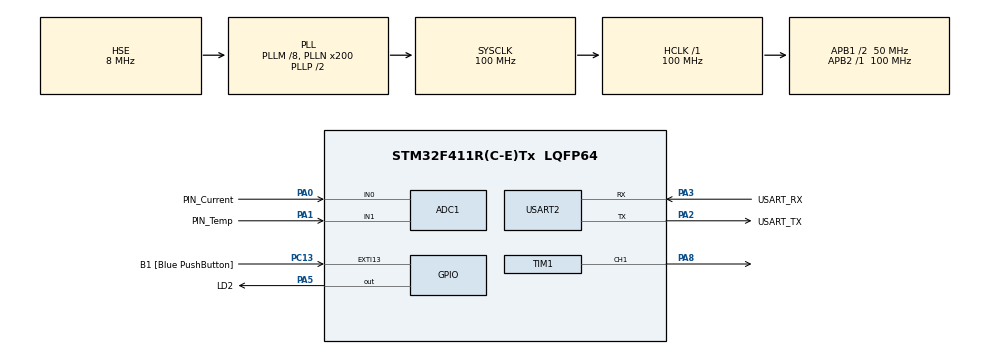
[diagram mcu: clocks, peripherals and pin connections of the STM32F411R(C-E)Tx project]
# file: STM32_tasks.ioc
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ADC1.Channel-10\#ChannelRegularConversion=ADC_CHANNEL_0
ADC1.NbrOfConversionFlag=1
ADC1.Rank-10\#ChannelRegularConversion=1
ADC1.SamplingTime-10\#ChannelRegularConversion=ADC_SAMPLETIME_3CYCLES
ADC1.master=1
Mcu.Family=STM32F4
Mcu.Name=STM32F411R(C-E)Tx
Mcu.Package=LQFP64
NVIC.PriorityGroup=NVIC_PRIORITYGROUP_0
NVIC.TIM2_IRQn=true\:0\:0\:false\:false\:true\:true\:true\:true
NVIC.USART2_IRQn=true\:0\:0\:false\:false\:true\:true\:true\:true
PA0-WKUP.GPIO_Label=PIN_Current
PA0-WKUP.Signal=ADCx_IN0
PA1.GPIO_Label=PIN_Temp
PA1.Signal=ADCx_IN1
PA13.GPIO_Label=TMS
PA13.Mode=Serial_Wire
PA13.Signal=SYS_JTMS-SWDIO
PA14.GPIO_Label=TCK
PA14.Mode=Serial_Wire
PA14.Signal=SYS_JTCK-SWCLK
PA2.GPIO_Label=USART_TX
PA2.Mode=Asynchronous
PA2.Signal=USART2_TX
PA3.GPIO_Label=USART_RX
PA3.Mode=Asynchronous
PA3.Signal=USART2_RX
PA5.GPIO_Label=LD2
PA5.Signal=GPIO_Output
PA8.Signal=S_TIM1_CH1
PB3.GPIO_Label=SWO
PB3.Signal=SYS_JTDO-SWO
PC13-ANTI_TAMP.GPIO_Label=B1 [Blue PushButton]
PC13-ANTI_TAMP.GPIO_ModeDefaultEXTI=GPIO_MODE_IT_FALLING
PC13-ANTI_TAMP.Signal=GPXTI13
PC14-OSC32_IN.Mode=LSE-External-Oscillator
PC14-OSC32_IN.Signal=RCC_OSC32_IN
PC15-OSC32_OUT.Mode=LSE-External-Oscillator
PC15-OSC32_OUT.Signal=RCC_OSC32_OUT
PH0\ -\ OSC_IN.Mode=HSE-External-Clock-Source
PH0\ -\ OSC_IN.Signal=RCC_OSC_IN
PH1\ -\ OSC_OUT.Mode=HSE-External-Clock-Source
PH1\ -\ OSC_OUT.Signal=RCC_OSC_OUT
ProjectManager.HeapSize=0x200
ProjectManager.StackSize=0x400
ProjectManager.TargetToolchain=STM32CubeIDE
RCC.48MHZClocksFreq_Value=50000000
RCC.AHBFreq_Value=100000000
RCC.APB1CLKDivider=RCC_HCLK_DIV2
RCC.APB1Freq_Value=50000000
RCC.APB1TimFreq_Value=100000000
RCC.APB2Freq_Value=100000000
RCC.APB2TimFreq_Value=100000000
RCC.CortexFreq_Value=100000000
RCC.FLatency-AdvancedSettings=FLASH_LATENCY_3
RCC.HCLKFreq_Value=100000000
RCC.HSE_VALUE=8000000
RCC.HSI_VALUE=16000000
RCC.PLLM=8
RCC.PLLN=200
RCC.PLLSourceVirtual=RCC_PLLSOURCE_HSE
RCC.SYSCLKFreq_VALUE=100000000
RCC.SYSCLKSource=RCC_SYSCLKSOURCE_PLLCLK
RCC.VCOOutputFreq_Value=200000000
SH.ADCx_IN0.0=ADC1_IN0,IN0
SH.ADCx_IN1.0=ADC1_IN1,IN1
SH.S_TIM1_CH1.0=TIM1_CH1,PWM Generation1 CH1
TIM1.AutoReloadPreload=TIM_AUTORELOAD_PRELOAD_ENABLE
TIM1.Channel-PWM\ Generation1\ CH1=TIM_CHANNEL_1
TIM1.Period=4999
TIM2.Channel-Output\ Compare1\ No\ Output=TIM_CHANNEL_1
TIM2.OCMode_1=TIM_OCMODE_TOGGLE
TIM2.Period=10000
TIM2.Prescaler=49999
TIM2.Pulse-Output\ Compare1\ No\ Output=10000
USART2.VirtualMode=VM_ASYNC
VP_TIM2_VS_ClockSourceINT.Mode=Internal
VP_TIM2_VS_no_output1.Mode=Output Compare1 No Output
board=NUCLEO-F411RE

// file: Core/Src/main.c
/* USER CODE BEGIN Header */
/**
  ******************************************************************************
  * @file           : main.c
  * @brief          : Main program body
  ******************************************************************************
  * @attention
  *
  * Copyright (c) 2025 STMicroelectronics.
  * All rights reserved.
  *
  * This software is licensed under terms that can be found in the LICENSE file
  * in the root directory of this software component.
  * If no LICENSE file comes with this software, it is provided AS-IS.
  *65535
  ******************************************************************************
  */

//Some change
/* USER CODE END Header */
#include "main.h"

/* USER CODE BEGIN Includes */
#include <ctype.h>
#include <stdarg.h>
#include <stdlib.h>  // strtoul
#include <stdio.h>
#include <math.h>

/* USER CODE END Includes */

/* USER CODE BEGIN PD */
#define CMD_BUF_LEN 64

#define ADC_VREF_V              3.3f
#define ADC_MAX_COUNTS          4095.0f

#define ISENSE_ADC_CHANNEL      ADC_CHANNEL_0   /* A0 = PA0 on Nucleo F411RE */
#define TEMP_ADC_CHANNEL        ADC_CHANNEL_1   /* A1 = PA1 on Nucleo F411RE */

#define ISENSE_RSHUNT_OHMS      0.096f          // 50 mΩ normaly, changed for calibrating a good mesurement.
#define ISENSE_AD623_RG_OHMS    4300.0f         // 4.3k
#define ISENSE_AD623_GAIN       (1.0f + 49400.0f / ISENSE_AD623_RG_OHMS)
#define ISENSE_AD623_VREF_V     0.0f            // REF = GND

#define NTC_RREF_OHMS           47000.0f        // 47k  ohm
#define TEMP_AD623_RG_OHMS      100000.0f       // 100K ohm
#define TEMP_AD623_GAIN         (1.0f + 49400.0f / TEMP_AD623_RG_OHMS)

/* Add near your other #defines (only once) */
#define TEMP_BIAS_RTOP_OHMS   47000.0f   // R1
#define TEMP_BIAS_RBOT_OHMS   47000.0f   // R2
#define TEMP_BIAS_VMID        (ADC_VREF_V * (TEMP_BIAS_RBOT_OHMS / (TEMP_BIAS_RTOP_OHMS + TEMP_BIAS_RBOT_OHMS)))
/* For 47k/47k this is ~1.65 V */

#define TEMP_REF_RTOP_OHMS      27000.0f        // R4
#define TEMP_REF_RBOT_OHMS      10000.0f        // R3
#define TEMP_AD623_VREF_V       (ADC_VREF_V * (TEMP_REF_RBOT_OHMS / (TEMP_REF_RTOP_OHMS + TEMP_REF_RBOT_OHMS)))

/* Thermistor parameters (ADJUST to your NTC part) */
#define NTC_R0_OHMS             47000.0f       // e.g., 47k at 25°C
#define NTC_BETA_K              3950.0f         // e.g., B=3950
#define NTC_T0_K                298.15f         // 25°C in Kelvin

#define ADC_SAMPLES_AVG         8

#define SUPPLY_VOLTAGE_V   24.0f

#define CONTROL_DT_S           0.10f                // 100 ms bucle PI (TIM2)

/* USER CODE END PD */

ADC_HandleTypeDef hadc1;

TIM_HandleTypeDef htim1;
TIM_HandleTypeDef htim2;

UART_HandleTypeDef huart2;

/* USER CODE BEGIN PV */
volatile uint8_t  uart2_rx_byte;           // byte recived in Interrupt
volatile int16_t  last_sent_pct         = -1;  // last %

volatile uint8_t  cmd_idx               = 0;             // index
volatile char     cmd_buf[CMD_BUF_LEN];    // buffer

volatile uint8_t pwm_test_mode          = 0;

/* === New runtime state === */
volatile uint8_t stream_on              = 0;   // 0=OFF, 1=ON
volatile uint8_t duty_pct               = 0;   // Current duty in % (0..100)

/* === PI control runtime === */
volatile uint8_t  pi_mode      = 0;                 // 0=OFF, 1=ON
volatile float    kp           = 12.528630f;        // default
volatile float    ki           = 0.2527029f;        // default
volatile float    temp_sp_C    = 25.0f;             // setpoint °C
static   float    pi_int       = 0.0f;              // integrador (en %)

/* === Cached measurements updated only in TIM2 ISR === */
volatile float g_i_A           = 0.0f;  // current [A]
volatile float g_t_C           = 0.0f;  // temperature [°C]
volatile float g_vraw_a0       = 0.0f;  // raw ADC volts ch0 (current front-end)
volatile float g_vraw_a1       = 0.0f;  // raw ADC volts ch1 (temp front-end)

/* USER CODE END PV */

void SystemClock_Config(void);
static void MX_GPIO_Init(void);
static void MX_USART2_UART_Init(void);
static void MX_TIM2_Init(void);
static void MX_ADC1_Init(void);
static void MX_TIM1_Init(void);
/* USER CODE BEGIN PFP */
void TIM1_CH1_SetDutyPercent(float duty_pct);
void TIM2_SetPeriod_ms(uint32_t ms);
uint32_t TIM2_GetCounterTickHz(void);
void Command_Interpreter(const char *buf);
void uart2_printf(const char *fmt, ...);

static uint16_t ADC1_Read12_Channel(uint32_t channel);
static float    ADC1_Read_Average_V(uint32_t channel);
void TIM1_CH1_SetDutyPercent(float duty_pct);
float           Mesure_current_A(void);
float           Mesure_Temperature_C(void);

static int parse_sp_xdddd(const char *p, float *out_spC);
static double parse_float_from(const char *p);

/* USER CODE END PFP */

int main(void)
{

  /* MCU Configuration--------------------------------------------------------*/

  /* Reset of all peripherals, Initializes the Flash interface and the Systick. */
  HAL_Init();

  /* Configure the system clock */
  SystemClock_Config();

  /* Initialize all configured peripherals */
  MX_GPIO_Init();
  MX_USART2_UART_Init();
  MX_TIM2_Init();
  MX_ADC1_Init();
  MX_TIM1_Init();
  /* USER CODE BEGIN 2 */
  /* Start 20 kHz PWM on TIM1 CH1 -> PA8 (D7) */

  if (HAL_TIM_PWM_Start(&htim1, TIM_CHANNEL_1) != HAL_OK) {
      Error_Handler();
  }
  __HAL_TIM_MOE_ENABLE(&htim1);
  TIM1_CH1_SetDutyPercent(0.0f);

  HAL_UART_Receive_IT(&huart2, (uint8_t*)&uart2_rx_byte, 1);
  HAL_TIM_Base_Start_IT(&htim2);

  TIM2_SetPeriod_ms(100);

  /* USER CODE END 2 */

  /* Infinite loop */
  /* USER CODE BEGIN WHILE */
  while (1)
  {

      /* ===== Streaming :S =====
       * Emits: Corriente;Temperatura;DuttyCycle;Potencia\n
       * Potencia = 24V * (duty%/100) * Corriente
       */
	  if (stream_on) {
	      float i_A = g_i_A;
	      float t_C = g_t_C;
	      float p_W = SUPPLY_VOLTAGE_V * ((float)duty_pct / 100.0f) * i_A;
	      uart2_printf("%.4f;%.2f;%u;%.2f\r\n", i_A, t_C, (unsigned)duty_pct, p_W);
	      HAL_Delay(100);
	      continue;
	  }

	  if (pwm_test_mode) {
	      static uint8_t header_printed_k = 0;
	      if (!header_printed_k) {
	          uart2_printf("\r\nVraw_I [V]\tI [A]\tVraw_T [V]\tT [°C]\tDuty [%]\r\n");
	          header_printed_k = 1;
	      }

	      uart2_printf("%.4f [V]\t%.4f [A]\t%.4f [V]\t%.2f [°C]\t%u [%%]\r\n",
	                   g_vraw_a0, g_i_A, g_vraw_a1, g_t_C, (unsigned)duty_pct);

	      HAL_Delay(100);
	      continue;
	  }

    /* USER CODE END WHILE */

  }
}

void SystemClock_Config(void)
{
  RCC_OscInitTypeDef RCC_OscInitStruct = {0};
  RCC_ClkInitTypeDef RCC_ClkInitStruct = {0};

  /** Configure the main internal regulator output voltage
  */
  __HAL_RCC_PWR_CLK_ENABLE();
  __HAL_PWR_VOLTAGESCALING_CONFIG(PWR_REGULATOR_VOLTAGE_SCALE1);

  /** Initializes the RCC Oscillators according to the specified parameters
  * in the RCC_OscInitTypeDef structure.
  */
  RCC_OscInitStruct.OscillatorType = RCC_OSCILLATORTYPE_HSE;
  RCC_OscInitStruct.HSEState = RCC_HSE_BYPASS;
  RCC_OscInitStruct.PLL.PLLState = RCC_PLL_ON;
  RCC_OscInitStruct.PLL.PLLSource = RCC_PLLSOURCE_HSE;
  RCC_OscInitStruct.PLL.PLLM = 8;
  RCC_OscInitStruct.PLL.PLLN = 200;
  RCC_OscInitStruct.PLL.PLLP = RCC_PLLP_DIV2;
  RCC_OscInitStruct.PLL.PLLQ = 4;
  if (HAL_RCC_OscConfig(&RCC_OscInitStruct) != HAL_OK)
  {
    Error_Handler();
  }

  /** Initializes the CPU, AHB and APB buses clocks
  */
  RCC_ClkInitStruct.ClockType = RCC_CLOCKTYPE_HCLK|RCC_CLOCKTYPE_SYSCLK
                              |RCC_CLOCKTYPE_PCLK1|RCC_CLOCKTYPE_PCLK2;
  RCC_ClkInitStruct.SYSCLKSource = RCC_SYSCLKSOURCE_PLLCLK;
  RCC_ClkInitStruct.AHBCLKDivider = RCC_SYSCLK_DIV1;
  RCC_ClkInitStruct.APB1CLKDivider = RCC_HCLK_DIV2;
  RCC_ClkInitStruct.APB2CLKDivider = RCC_HCLK_DIV1;

  if (HAL_RCC_ClockConfig(&RCC_ClkInitStruct, FLASH_LATENCY_3) != HAL_OK)
  {
    Error_Handler();
  }
}

static void MX_ADC1_Init(void)
{

  ADC_ChannelConfTypeDef sConfig = {0};

  /** Configure the global features of the ADC (Clock, Resolution, Data Alignment and number of conversion)
  */
  hadc1.Instance = ADC1;
  hadc1.Init.ClockPrescaler = ADC_CLOCK_SYNC_PCLK_DIV4;
  hadc1.Init.Resolution = ADC_RESOLUTION_12B;
  hadc1.Init.ScanConvMode = DISABLE;
  hadc1.Init.ContinuousConvMode = DISABLE;
  hadc1.Init.DiscontinuousConvMode = DISABLE;
  hadc1.Init.ExternalTrigConvEdge = ADC_EXTERNALTRIGCONVEDGE_NONE;
  hadc1.Init.ExternalTrigConv = ADC_SOFTWARE_START;
  hadc1.Init.DataAlign = ADC_DATAALIGN_RIGHT;
  hadc1.Init.NbrOfConversion = 1;
  hadc1.Init.DMAContinuousRequests = DISABLE;
  hadc1.Init.EOCSelection = ADC_EOC_SINGLE_CONV;
  if (HAL_ADC_Init(&hadc1) != HAL_OK)
  {
    Error_Handler();
  }

  /** Configure for the selected ADC regular channel its corresponding rank in the sequencer and its sample time.
  */
  sConfig.Channel = ADC_CHANNEL_0;
  sConfig.Rank = 1;
  sConfig.SamplingTime = ADC_SAMPLETIME_3CYCLES;
  if (HAL_ADC_ConfigChannel(&hadc1, &sConfig) != HAL_OK)
  {
    Error_Handler();
  }

}

static void MX_TIM1_Init(void)
{

  TIM_MasterConfigTypeDef sMasterConfig = {0};
  TIM_OC_InitTypeDef sConfigOC = {0};
  TIM_BreakDeadTimeConfigTypeDef sBreakDeadTimeConfig = {0};

  htim1.Instance = TIM1;
  htim1.Init.Prescaler = 0;
  htim1.Init.CounterMode = TIM_COUNTERMODE_UP;
  htim1.Init.Period = 4999;
  htim1.Init.ClockDivision = TIM_CLOCKDIVISION_DIV1;
  htim1.Init.RepetitionCounter = 0;
  htim1.Init.AutoReloadPreload = TIM_AUTORELOAD_PRELOAD_ENABLE;
  if (HAL_TIM_PWM_Init(&htim1) != HAL_OK)
  {
    Error_Handler();
  }
  sMasterConfig.MasterOutputTrigger = TIM_TRGO_RESET;
  sMasterConfig.MasterSlaveMode = TIM_MASTERSLAVEMODE_DISABLE;
  if (HAL_TIMEx_MasterConfigSynchronization(&htim1, &sMasterConfig) != HAL_OK)
  {
    Error_Handler();
  }
  sConfigOC.OCMode = TIM_OCMODE_PWM1;
  sConfigOC.Pulse = 0;
  sConfigOC.OCPolarity = TIM_OCPOLARITY_HIGH;
  sConfigOC.OCNPolarity = TIM_OCNPOLARITY_HIGH;
  sConfigOC.OCFastMode = TIM_OCFAST_DISABLE;
  sConfigOC.OCIdleState = TIM_OCIDLESTATE_RESET;
  sConfigOC.OCNIdleState = TIM_OCNIDLESTATE_RESET;
  if (HAL_TIM_PWM_ConfigChannel(&htim1, &sConfigOC, TIM_CHANNEL_1) != HAL_OK)
  {
    Error_Handler();
  }
  sBreakDeadTimeConfig.OffStateRunMode = TIM_OSSR_DISABLE;
  sBreakDeadTimeConfig.OffStateIDLEMode = TIM_OSSI_DISABLE;
  sBreakDeadTimeConfig.LockLevel = TIM_LOCKLEVEL_OFF;
  sBreakDeadTimeConfig.DeadTime = 0;
  sBreakDeadTimeConfig.BreakState = TIM_BREAK_DISABLE;
  sBreakDeadTimeConfig.BreakPolarity = TIM_BREAKPOLARITY_HIGH;
  sBreakDeadTimeConfig.AutomaticOutput = TIM_AUTOMATICOUTPUT_DISABLE;
  if (HAL_TIMEx_ConfigBreakDeadTime(&htim1, &sBreakDeadTimeConfig) != HAL_OK)
  {
    Error_Handler();
  }
  HAL_TIM_MspPostInit(&htim1);

}

static void MX_TIM2_Init(void)
{

  TIM_ClockConfigTypeDef sClockSourceConfig = {0};
  TIM_MasterConfigTypeDef sMasterConfig = {0};
  TIM_OC_InitTypeDef sConfigOC = {0};

  htim2.Instance = TIM2;
  htim2.Init.Prescaler = 49999;
  htim2.Init.CounterMode = TIM_COUNTERMODE_UP;
  htim2.Init.Period = 10000;
  htim2.Init.ClockDivision = TIM_CLOCKDIVISION_DIV1;
  htim2.Init.AutoReloadPreload = TIM_AUTORELOAD_PRELOAD_DISABLE;
  if (HAL_TIM_Base_Init(&htim2) != HAL_OK)
  {
    Error_Handler();
  }
  sClockSourceConfig.ClockSource = TIM_CLOCKSOURCE_INTERNAL;
  if (HAL_TIM_ConfigClockSource(&htim2, &sClockSourceConfig) != HAL_OK)
  {
    Error_Handler();
  }
  if (HAL_TIM_OC_Init(&htim2) != HAL_OK)
  {
    Error_Handler();
  }
  sMasterConfig.MasterOutputTrigger = TIM_TRGO_RESET;
  sMasterConfig.MasterSlaveMode = TIM_MASTERSLAVEMODE_DISABLE;
  if (HAL_TIMEx_MasterConfigSynchronization(&htim2, &sMasterConfig) != HAL_OK)
  {
    Error_Handler();
  }
  sConfigOC.OCMode = TIM_OCMODE_TOGGLE;
  sConfigOC.Pulse = 10000;
  sConfigOC.OCPolarity = TIM_OCPOLARITY_HIGH;
  sConfigOC.OCFastMode = TIM_OCFAST_DISABLE;
  if (HAL_TIM_OC_ConfigChannel(&htim2, &sConfigOC, TIM_CHANNEL_1) != HAL_OK)
  {
    Error_Handler();
  }

}

static void MX_USART2_UART_Init(void)
{

  huart2.Instance = USART2;
  huart2.Init.BaudRate = 115200;
  huart2.Init.WordLength = UART_WORDLENGTH_8B;
  huart2.Init.StopBits = UART_STOPBITS_1;
  huart2.Init.Parity = UART_PARITY_NONE;
  huart2.Init.Mode = UART_MODE_TX_RX;
  huart2.Init.HwFlowCtl = UART_HWCONTROL_NONE;
  huart2.Init.OverSampling = UART_OVERSAMPLING_16;
  if (HAL_UART_Init(&huart2) != HAL_OK)
  {
    Error_Handler();
  }

}

static void MX_GPIO_Init(void)
{
  GPIO_InitTypeDef GPIO_InitStruct = {0};

  /* GPIO Ports Clock Enable */
  __HAL_RCC_GPIOC_CLK_ENABLE();
  __HAL_RCC_GPIOH_CLK_ENABLE();
  __HAL_RCC_GPIOA_CLK_ENABLE();
  __HAL_RCC_GPIOB_CLK_ENABLE();

  /*Configure GPIO pin Output Level */
  HAL_GPIO_WritePin(LD2_GPIO_Port, LD2_Pin, GPIO_PIN_RESET);

  /*Configure GPIO pin : B1_Pin */
  GPIO_InitStruct.Pin = B1_Pin;
  GPIO_InitStruct.Mode = GPIO_MODE_IT_FALLING;
  GPIO_InitStruct.Pull = GPIO_NOPULL;
  HAL_GPIO_Init(B1_GPIO_Port, &GPIO_InitStruct);

  /*Configure GPIO pin : LD2_Pin */
  GPIO_InitStruct.Pin = LD2_Pin;
  GPIO_InitStruct.Mode = GPIO_MODE_OUTPUT_PP;
  GPIO_InitStruct.Pull = GPIO_NOPULL;
  GPIO_InitStruct.Speed = GPIO_SPEED_FREQ_LOW;
  HAL_GPIO_Init(LD2_GPIO_Port, &GPIO_InitStruct);

}

/* USER CODE BEGIN 4 */

void HAL_TIM_PeriodElapsedCallback(TIM_HandleTypeDef *htim)
{
	if (htim->Instance == TIM2) {
	    HAL_GPIO_TogglePin(LD2_GPIO_Port, LD2_Pin);

	    /* --- Single-producer: take all ADC readings here --- */
	    g_vraw_a0 = ADC1_Read_Average_V(ISENSE_ADC_CHANNEL);
	    g_vraw_a1 = ADC1_Read_Average_V(TEMP_ADC_CHANNEL);
	    g_i_A     = Mesure_current_A();      // usa ADC internamente, pero ya no hay otro lector
	    g_t_C     = Mesure_Temperature_C();  // idem

	    /* --- PI loop uses cached temperature --- */
	    if (pi_mode && !pwm_test_mode) {
	        float t_C = g_t_C;
	        float err = temp_sp_C - t_C;

	        float u_p   = kp * err;
	        float du_i  = ki * err * CONTROL_DT_S;
	        float u_raw = u_p + pi_int;

	        float duty  = u_raw;
	        if (duty > 100.0f) duty = 100.0f;
	        if (duty < 0.0f)   duty = 0.0f;

	        int sat_hi = (u_raw >= 100.0f) && (err > 0.0f);
	        int sat_lo = (u_raw <=   0.0f) && (err < 0.0f);
	        if (!(sat_hi || sat_lo)) {
	            pi_int += du_i;
	            if (pi_int > 100.0f)  pi_int = 100.0f;
	            if (pi_int < -100.0f) pi_int = -100.0f;
	        }

	        TIM1_CH1_SetDutyPercent(duty);
	        duty_pct = (uint8_t)(duty + 0.5f);
	    }
	}
}

void HAL_UART_RxCpltCallback(UART_HandleTypeDef *huart)
{
    if (huart->Instance == USART2) {
        uint8_t b = uart2_rx_byte;

        if (b == ':') {
            /* Start of a new command: drop ':' and reset the buffer */
            cmd_idx = 0;

        } else if (b == '\r' || b == '\n') {
            /* ENTER pressed: close special modes or dispatch buffered command */

            if (pwm_test_mode) {
                /* Exit K-mode on ENTER (return to 0% for safety) */
                pwm_test_mode = 0;
                duty_pct = 0;
                TIM1_CH1_SetDutyPercent(0.0f);
                htim1.Instance->EGR = TIM_EGR_UG;  /* force immediate update */
                cmd_idx = 0;
                uart2_printf("PWM test END -> duty=0%%\r\n");

            } else {
                /* No special mode: if we have a buffered command, run it */
                if (cmd_idx > 0) {
                    if (cmd_idx >= CMD_BUF_LEN) cmd_idx = CMD_BUF_LEN - 1;
                    cmd_buf[cmd_idx] = '\0';
                    Command_Interpreter((const char*)cmd_buf);
                    cmd_idx = 0;
                }
            }

        } else if ((b == '+' || b == '-') && pwm_test_mode) {
            /* Jog duty in K-mode by ±10% steps, clamped to 0..100 */
            if (b == '+') {
                duty_pct = (duty_pct >= 90) ? 100 : (uint8_t)(duty_pct + 10);
            } else {
                duty_pct = (duty_pct <= 10) ?   0 : (uint8_t)(duty_pct - 10);
            }
            TIM1_CH1_SetDutyPercent((float)duty_pct);
            htim1.Instance->EGR = TIM_EGR_UG;  /* make the new CCR1 effective now */
        } else {
            /* Accumulate printable characters for a command payload */
            if (cmd_idx < CMD_BUF_LEN - 1) {
                if (b >= 32 && b <= 126) {
                    cmd_buf[cmd_idx++] = (char)b;
                }
            }
        }

        /* Re-arm reception of the next byte */
        HAL_UART_Receive_IT(&huart2, (uint8_t*)&uart2_rx_byte, 1);
    }
}

static uint16_t ADC1_Read12_Channel(uint32_t channel)
{
    ADC_ChannelConfTypeDef sConfig = {0};

    sConfig.Channel      = channel;

/* F4 HAL uses numeric rank (1..16). Newer families define ADC_REGULAR_RANK_1. */
#if defined(ADC_REGULAR_RANK_1)
    sConfig.Rank         = ADC_REGULAR_RANK_1;
#else
    sConfig.Rank         = 1;  // STM32F4
#endif

    /* Use a reasonable sampling time to accommodate source impedance */
    sConfig.SamplingTime = ADC_SAMPLETIME_15CYCLES;

#if defined(ADC_SINGLE_ENDED)
    sConfig.SingleDiff   = ADC_SINGLE_ENDED;   // not present on F4
#endif

    if (HAL_ADC_ConfigChannel(&hadc1, &sConfig) != HAL_OK) {
        Error_Handler();
    }

    HAL_ADC_Start(&hadc1);
    if (HAL_ADC_PollForConversion(&hadc1, 10) != HAL_OK) {
        HAL_ADC_Stop(&hadc1);
        return 0;
    }

    uint16_t val = (uint16_t)HAL_ADC_GetValue(&hadc1);   // 0..4095
    HAL_ADC_Stop(&hadc1);
    return val;
}

/* Read N samples on a channel and return the average in volts. */
static float ADC1_Read_Average_V(uint32_t channel)
{
    uint32_t acc = 0;
    for (int i = 0; i < ADC_SAMPLES_AVG; ++i) {
        acc += ADC1_Read12_Channel(channel);
    }
    /* Avoid integer division loss of precision */
    float counts = (float)acc / (float)ADC_SAMPLES_AVG;
    return (counts / ADC_MAX_COUNTS) * ADC_VREF_V;
}

/* Measure load current and return it in amps (A).
 * Topology: AD623 with gain = ISENSE_AD623_GAIN, REF = ISENSE_AD623_VREF_V,
 *           shunt = ISENSE_RSHUNT_OHMS, ADC channel = ISENSE_ADC_CHANNEL.
 *
 * Flow:
 *   1) Read AD623 output voltage at ADC pin.
 *   2) Remove AD623 REF offset.
 *   3) Divide by AD623 gain to recover shunt differential voltage.
 *   4) I = Vsense / Rshunt  -> convert to A.
 */
float Mesure_current_A(void)
{
    /* 1) Read averaged ADC voltage at A0 (AD623 output) */
    float v_adc = ADC1_Read_Average_V(ISENSE_ADC_CHANNEL);

    /* 2) Remove AD623 REF offset (0 V in your current path) */
    float v_out_rel = v_adc - ISENSE_AD623_VREF_V;

    /* 3) Recover shunt voltage */
    float v_sense = v_out_rel / ISENSE_AD623_GAIN;

    /* 4) Convert to current and return in A */
    float i_a = v_sense / ISENSE_RSHUNT_OHMS;   /* Amps */
    return i_a;
}

/* Measure temperature using Steinhart–Hart (3rd-order) fitted to EPCOS 47k, R/T #4003.
 * The AD623 REF and gain are removed first to recover the divider node voltage.
 * Datasheet anchor points (R/R25 for R/T 4003):
 *   T1 = 0°C,  R1 = R25 * 3.5243
 *   T2 = 25°C, R2 = R25
 *   T3 = 85°C, R3 = R25 * 0.10053
 * This yields SH: 1/T = A + B*ln(R) + C*ln(R)^3   (T in Kelvin).
 */
float Mesure_Temperature_C(void)
{
    /* 1) Read AD623 output (what the ADC sees) */
    float v_adc  = ADC1_Read_Average_V(TEMP_ADC_CHANNEL);

    /* 2) INA de-embedding: differential at inputs */
    float v_diff = (v_adc - TEMP_AD623_VREF_V) / TEMP_AD623_GAIN;

    /* 3) Rebuild the actual divider node: Vnode = VMID + v_diff
          (AD623 measures node - VMID; if inputs were swapped, the sign flips) */
    float v_node = TEMP_BIAS_VMID - v_diff;

    /* If the result looks out-of-range, try opposite polarity (inverted wiring). */
    if (v_node <= 0.0f || v_node >= ADC_VREF_V) {
        v_node = TEMP_BIAS_VMID - v_diff;
    }

    /* Keep within (0, Vref) to avoid singularities */
    const float EPS = 1e-6f;
    if (v_node >= (ADC_VREF_V - EPS)) v_node = ADC_VREF_V - EPS;
    if (v_node <= EPS)                 v_node = EPS;

    /* 4) Thermistor resistance from divider:
          Vnode = Vref * (Rntc / (Rref + Rntc))  =>  Rntc = Rref * Vnode / (Vref - Vnode) */
    float r_ntc = NTC_RREF_OHMS * (v_node / (ADC_VREF_V - v_node));

    /* 5) Steinhart–Hart with EPCOS 47k, R/T #4003 anchors (computed once) */
    const float R25      = 47000.0f;     // 47k @ 25°C
    const float ratio0C  = 3.5243f;      // R(0°C)/R25
    const float ratio85C = 0.10053f;     // R(85°C)/R25

    const float R1 = R25 * ratio0C;      // at 0°C
    const float R2 = R25;                // at 25°C
    const float R3 = R25 * ratio85C;     // at 85°C

    const float T1 = 273.15f;            // 0°C  in K
    const float T2 = 298.15f;            // 25°C in K
    const float T3 = 358.15f;            // 85°C in K

    static int   sh_init = 0;
    static float sh_A, sh_B, sh_C;

    if (!sh_init) {
        float L1 = logf(R1), L2 = logf(R2), L3 = logf(R3);
        float Y1 = 1.0f / T1, Y2 = 1.0f / T2, Y3 = 1.0f / T3;

        float gamma2 = (Y2 - Y1) / (L2 - L1);
        float gamma3 = (Y3 - Y1) / (L3 - L1);
        sh_C = (gamma3 - gamma2) / (L3 - L2) / (L1 + L2 + L3);
        sh_B = gamma2 - sh_C * (L2*L2 + L1*L2 + L1*L1);
        sh_A = Y1 - sh_B*L1 - sh_C*(L1*L1*L1);

        sh_init = 1;
    }

    float L  = logf(r_ntc);
    float Y  = sh_A + sh_B*L + sh_C*(L*L*L);   /* 1/T [1/K] */
    if (Y <= 0.0f) Y = EPS;
    float T_K = 1.0f / Y;
    float T_C = T_K - 273.15f;

    return T_C;
}

/* Set TIM1 CH1 duty in percent (0..100)  (HEATING RESISTENCE DUTTY-CYCLE)*/
// Apply duty in % to TIM1 CH1 and force the update immediately
void TIM1_CH1_SetDutyPercent(float duty_pct)
{
    if (duty_pct < 0.0f)   duty_pct = 0.0f;
    if (duty_pct > 100.0f) duty_pct = 100.0f;

    uint32_t arr = __HAL_TIM_GET_AUTORELOAD(&htim1);              // e.g. 4999
    uint32_t ccr = (uint32_t)((duty_pct * (float)(arr + 1U)) * 0.01f);
    if (ccr > arr) ccr = arr;                                     // 100% -> arr

    __HAL_TIM_SET_COMPARE(&htim1, TIM_CHANNEL_1, ccr);            // write CCR1

    // Force an update event so the new CCR is taken immediately (no shadow delay)
    htim1.Instance->EGR = TIM_EGR_UG;                             // generate UG
}

void uart2_printf(const char *fmt, ...)
{
    char buf[96];
    va_list ap;
    va_start(ap, fmt);
    int n = vsnprintf(buf, sizeof(buf), fmt, ap);
    va_end(ap);
    if (n < 0) return;
    if ((size_t)n > sizeof(buf)) n = sizeof(buf);
    HAL_UART_Transmit(&huart2, (uint8_t*)buf, (uint16_t)n, 100);
}

uint32_t TIM2_GetCounterTickHz(void)
{
    uint32_t pclk1 = HAL_RCC_GetPCLK1Freq();
    /* Si el prescaler de APB1 != 1, los timers corren al doble */
    if ((RCC->CFGR & RCC_CFGR_PPRE1) != RCC_CFGR_PPRE1_DIV1) {
        pclk1 *= 2U;
    }
    return pclk1 / (htim2.Init.Prescaler + 1U);
}

void TIM2_SetPeriod_ms(uint32_t ms)
{
    if (ms == 0) ms = 1;
    uint32_t tick_hz = TIM2_GetCounterTickHz();     // p.ej. 2 kHz con tu PSC=49999
    uint32_t arr = (tick_hz * ms) / 1000U;
    if (arr == 0) arr = 1;
    __HAL_TIM_DISABLE(&htim2);
    __HAL_TIM_SET_AUTORELOAD(&htim2, arr - 1U);     // ARR = N-1
    __HAL_TIM_SET_COUNTER(&htim2, 0);
    __HAL_TIM_ENABLE(&htim2);
}

/* ---------- Helpers for command parsing (keep near the interpreter) ---------- */

/* Parse a floating-point number after optional spaces. Example: "  12.5" -> 12.5 */
static double parse_float_from(const char *p) {
    while (*p == ' ') p++;
    return strtod(p, NULL);
}

/* Parse temperature setpoint in the :Xdddd format
   - Exactly 4 digits: first 3 are integer part, last 1 is tenths (e.g., X1234 -> 123.4°C)
   - Returns 0 on success and writes to *out_spC; -1 on malformed input. */
static int parse_sp_xdddd(const char *p, float *out_spC) {
    while (*p == ' ') p++;
    const char *q = p;

    /* Require exactly 4 digits */
    for (int i = 0; i < 4; ++i) {
        if (q[i] < '0' || q[i] > '9') return -1;
    }
    if (q[4] != '\0' && q[4] != ' ' && q[4] != '\r' && q[4] != '\n') {
        /* Extra junk after 4 digits: reject */
        return -1;
    }

    unsigned v = (unsigned)strtoul(p, NULL, 10);  /* e.g., 1234 */
    *out_spC   = (float)v / 10.0f;                /* 123.4 */
    return 0;
}

/* ------------------------------ Command Interpreter ------------------------------ */
/* buf contains the command WITHOUT the leading ':' and without CR/LF.
   Examples:
     ":C" or ":C1" -> enable PI mode
     ":C0"         -> disable PI mode
     ":X1234"      -> setpoint = 123.4 °C
     ":KP12.5"     -> Kp = 12.5
     ":KI0.25"     -> Ki = 0.25
     ":K"          -> manual PWM jog mode (K-mode), disables PI
     ":D50"        -> duty = 50%, disables PI
     ":S" / ":S0"  -> start/stop streaming
     ":A"          -> safe stop (everything off)
*/
void Command_Interpreter(const char *buf)
{
    if (!buf || !buf[0]) return;

    /* Normalize main command letter to uppercase */
    char cmd = (char)toupper((unsigned char)buf[0]);

    /* Point to the first character after the main command letter */
    const char *p = buf + 1;
    while (*p == ' ') p++;

    /* Keep val for commands that still want an integer after spaces (e.g., :Dnn) */
    uint32_t val = strtoul(p, NULL, 10);

    switch (cmd) {

    /* ======== PI mode control ========
       :C or :C1 -> enable PI (resets integrator, sets duty=0 for safety)
       :C0       -> disable PI (sets duty=0)
    */
    case 'C':
    {
        int enable = 1;
        if (*p == '0') enable = 0;

        if (enable) {
            pwm_test_mode = 0;           /* Leave manual jog if active */
            pi_mode       = 1;
            pi_int        = 0.0f;        /* Reset integral term */
            TIM1_CH1_SetDutyPercent(0.0f);
            duty_pct = 0;
            uart2_printf("PI ON (Kp=%.6f, Ki=%.6f, SP=%.1f C)\r\n", kp, ki, temp_sp_C);
        } else {
            pi_mode = 0;
            TIM1_CH1_SetDutyPercent(0.0f);
            duty_pct = 0;
            uart2_printf("PI OFF\r\n");
        }
    }
    break;

    /* ======== Temperature setpoint ========
       :Xdddd -> 4 digits, last is tenths (e.g., X0850 -> 85.0 C)
       Rejects formats that are not exactly 4 digits.
    */
    case 'X':
    {
        float spC;
        if (parse_sp_xdddd(p, &spC) == 0) {
            temp_sp_C = spC;
            uart2_printf("SP=%.1f C\r\n", temp_sp_C);
        } else {
            uart2_printf("ERR setpoint format (use :Xdddd, e.g., :X1234 -> 123.4 C)\r\n");
        }
    }
    break;

    /* ======== Gains and K-mode ========
       :KP<float> -> set Kp
       :KI<float> -> set Ki
       :K         -> enter manual PWM jog mode (disables PI)
    */
    case 'K':
    {
        /* If there's a second letter, it should be P or I for gain edits */
        char c1 = (char)toupper((unsigned char)p[0]);

        if (c1 == 'P') {
            double v = parse_float_from(p + 1);
            kp = (float)v;
            uart2_printf("Kp=%.6f\r\n", kp);
        } else if (c1 == 'I') {
            double v = parse_float_from(p + 1);
            ki = (float)v;
            uart2_printf("Ki=%.6f\r\n", ki);
        } else if (p[0] == '\0') {
            /* Bare :K -> enter manual jog mode */
            pwm_test_mode = 1;
            pi_mode       = 0;            /* PI off while in manual */
            duty_pct      = 0;
            TIM1_CH1_SetDutyPercent(0.0f);
            uart2_printf("PWM test START. Use '+' / '-' (±10%%). ENTER to stop.\r\n");
        } else {
            uart2_printf("ERR cmd 'K%.*s'\r\n", 4, p);
        }
    }
    break;

    /* ======== Direct duty command ========
       :Dnn -> duty in % (0..100). Disables PI.
    */
    case 'D':
    {
        if (val > 100U) val = 100U;
        pi_mode  = 0;                     /* leave PI if forcing duty */
        duty_pct = (uint8_t)val;
        TIM1_CH1_SetDutyPercent((float)duty_pct);
        uart2_printf("Duty=%lu %% (PI OFF)\r\n", (unsigned long)val);
    }
    break;

    /* ======== Streaming ========
       :S  -> start streaming
       :S0 -> stop streaming
    */
    case 'S':
    {
        if (*p == '0') {
            stream_on = 0;
            uart2_printf("Stream OFF\r\n");
        } else {
            stream_on = 1;
            uart2_printf("Stream ON\r\n");
        }
    }
    break;

    /* ======== Safe stop ========
       :A -> immediate safe stop (stream OFF, K-mode OFF, PI OFF, duty=0)
    */
    case 'A':
    {
        stream_on     = 0;
        pwm_test_mode = 0;
        pi_mode       = 0;
        duty_pct      = 0;
        pi_int        = 0.0f;
        TIM1_CH1_SetDutyPercent(0.0f);
        uart2_printf("SAFE STOP\r\n");
    }
    break;

    /* ======== Unknown command ======== */
    default:
        uart2_printf("ERR cmd '%c'\r\n", cmd);
        break;
    }
}

/* USER CODE END 4 */

void Error_Handler(void)
{
  __disable_irq();
  while (1)
  {
  }
}
